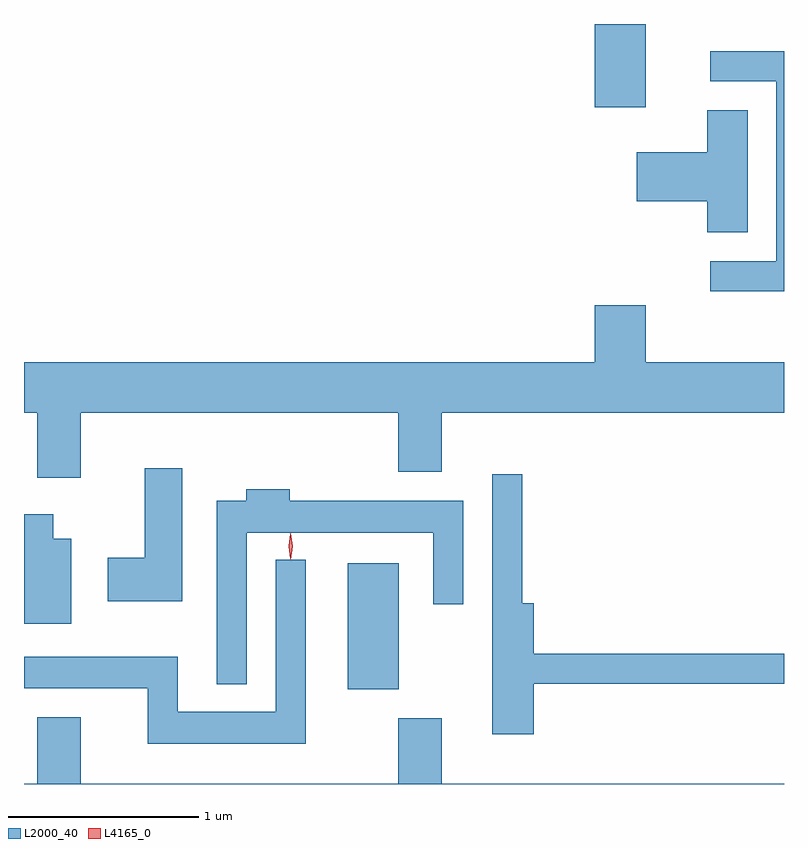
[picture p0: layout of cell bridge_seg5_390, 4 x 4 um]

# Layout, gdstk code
import gdstk
lib = gdstk.Library(unit=1e-6, precision=1e-09)
def R(c, l, rs):  # rectangles x0, y0, x1, y1
    for r in rs: c.add(gdstk.rectangle(r[:2], r[2:], *l))
def P(c, l, *ps):  # polygons
    for p in ps: c.add(gdstk.Polygon(p, *l))
L2000_40 = (2000, 40)
L4165_0 = (4165, 0)

bridge_seg5_390 = lib.new_cell('bridge_seg5_390')
R(bridge_seg5_390, L2000_40, [(573.416,1524.161,573.684,1524.824), (574.716,1527.226,574.984,1527.663)])
P(bridge_seg5_390, L2000_40, [(575.711,1527.519),(575.323,1527.519),(575.323,1527.361),(575.671,1527.361),(575.671,1526.414),(575.323,1526.414),(575.323,1526.256),(575.711,1526.256)],
  [(575.519,1527.209),(575.306,1527.209),(575.306,1526.989),(574.936,1526.989),(574.936,1526.731),(575.306,1526.731),(575.306,1526.566),(575.519,1526.566)],
  [(572.009,1525.616),(573.681,1525.616),(573.681,1525.306),(573.909,1525.306),(573.909,1525.616),(575.711,1525.616),(575.711,1525.884),(574.984,1525.884),(574.984,1526.184),(574.716,1526.184),(574.716,1525.884),(571.711,1525.884),(571.711,1525.616),(571.781,1525.616),(571.781,1525.276),(572.009,1525.276)],
  [(572.544,1525.324),(572.346,1525.324),(572.346,1524.854),(572.151,1524.854),(572.151,1524.626),(572.544,1524.626)],
  [(574.394,1524.191),(575.711,1524.191),(575.711,1524.349),(574.394,1524.349),(574.394,1524.614),(574.334,1524.614),(574.334,1525.293),(574.176,1525.293),(574.176,1523.926),(574.394,1523.926)],
  [(572.884,1524.986),(573.866,1524.986),(573.866,1524.608),(574.024,1524.608),(574.024,1525.154),(573.109,1525.154),(573.109,1525.214),(572.881,1525.214),(572.881,1525.154),(572.726,1525.154),(572.726,1524.188),(572.884,1524.188)],
  [(571.959,1524.954),(571.864,1524.954),(571.864,1525.084),(571.711,1525.084),(571.711,1524.506),(571.959,1524.506)],
  [(573.194,1524.843),(573.036,1524.843),(573.036,1524.044),(572.519,1524.044),(572.519,1524.334),(571.711,1524.334),(571.711,1524.166),(572.361,1524.166),(572.361,1523.876),(573.194,1523.876)],
  [(575.711,1523.664),(573.909,1523.664),(573.909,1524.009),(573.681,1524.009),(573.681,1523.664),(572.009,1523.664),(572.009,1524.014),(571.781,1524.014),(571.781,1523.664),(571.711,1523.664),(571.711,1523.663),(575.711,1523.663)])
P(bridge_seg5_390, L4165_0, [(573.114,1524.847),(573.113,1524.848),(573.104,1524.914),(573.113,1524.98),(573.114,1524.981),(573.114,1524.98),(573.124,1524.914),(573.114,1524.848)],
  [(573.114,1524.844),(573.105,1524.914),(573.114,1524.983),(573.115,1524.983),(573.115,1524.983),(573.125,1524.914),(573.115,1524.844),(573.115,1524.844)])

lib.write_gds('bridge_seg5_390.gds')
